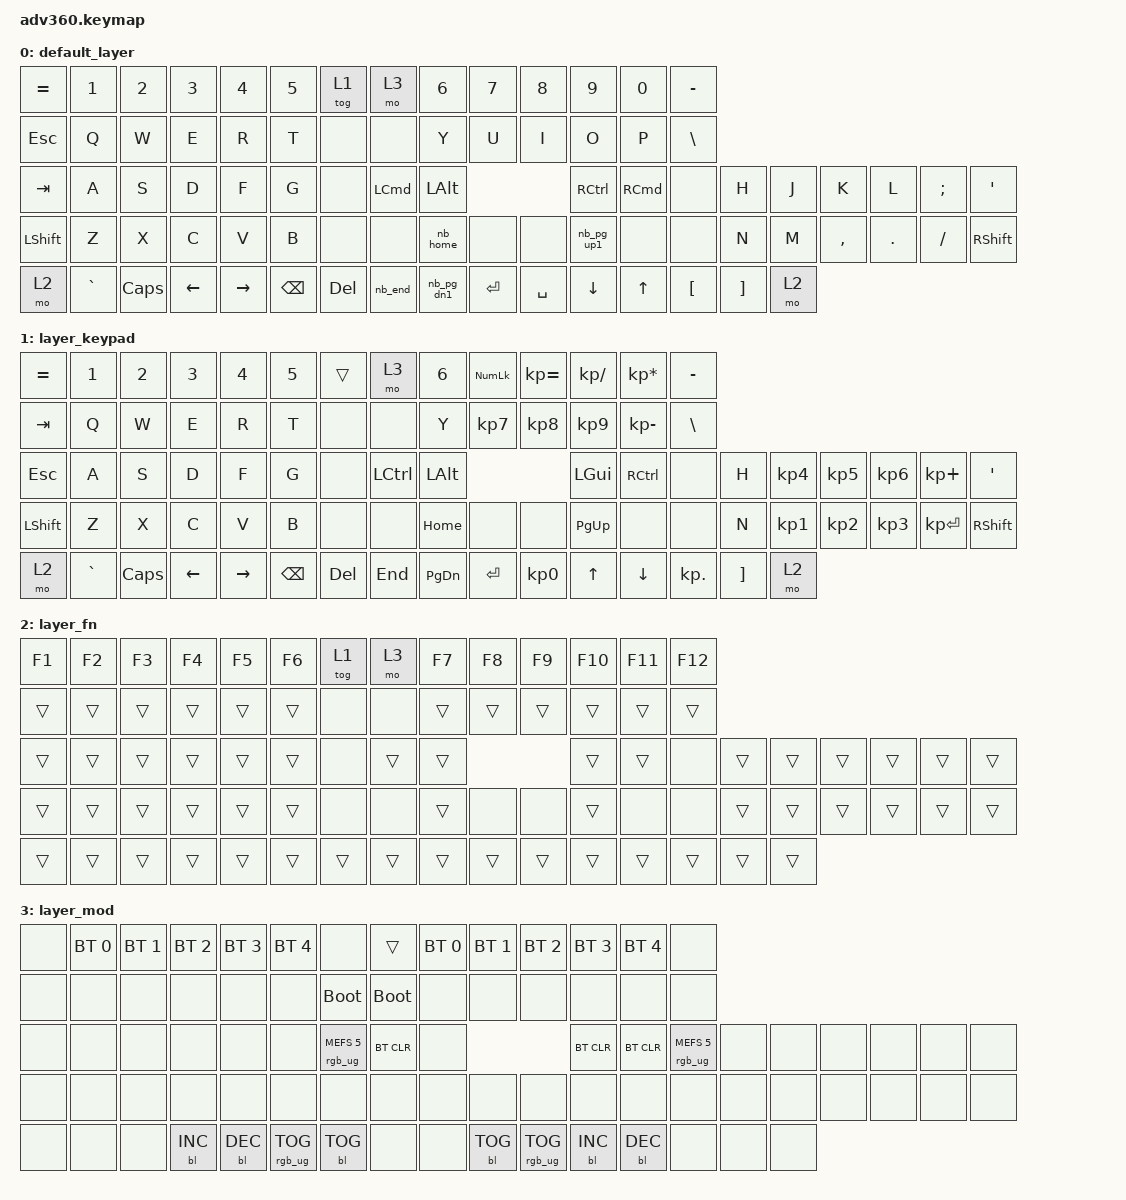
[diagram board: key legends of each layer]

/*
 * Copyright (c) 2020 The ZMK Contributors
 *
 * SPDX-License-Identifier: MIT
 */


/* THIS FILE WAS GENERATED!
 *
 * This file was generated automatically. You may or may not want to
 * edit it directly.
 */

#include <behaviors.dtsi>
#include <dt-bindings/zmk/keys.h>
#include <dt-bindings/zmk/bt.h>
#include <dt-bindings/zmk/rgb.h>
#include <dt-bindings/zmk/backlight.h>

/ {
  behaviors {
    #include "macros.dtsi"

    hm: homerow_mods {
        compatible = "zmk,behavior-hold-tap";
        label = "HOMEROW_MODS";
        #binding-cells = <2>;
        tapping-term-ms = <200>;
        quick_tap_ms = <175>;
        flavor = "tap-preferred";
        bindings = <&kp>, <&kp>;
    };
    nb_home: nb_home {
             compatible = "zmk,behavior-mod-morph";
             label = "NB_HOME";
             #binding-cells = <0>;
             bindings = <&kp RG(TAB)>, <&kp HOME>;
             mods = <(MOD_LSFT|MOD_RSFT)>;
    };
    nb_end: nb_end{
            compatible = "zmk,behavior-mod-morph";
            label = "NB_END";
            #binding-cells = <0>;
            bindings = <&macro_nb_end>, <&kp END>;
            mods = <(MOD_LSFT|MOD_RSFT)>;
    };
    nb_pg_up0: nb_pg_up0{
             compatible = "zmk,behavior-mod-morph";
             label = "NB_PG_UP0";
             #binding-cells = <0>;
             bindings = <&kp LG(RBKT)>, <&kp PG_UP>;
             mods = <(MOD_LSFT|MOD_RSFT)>;
    };
    nb_pg_up1: nb_pg_up1{
             compatible = "zmk,behavior-mod-morph";
             label = "NB_PG_UP1";
             #binding-cells = <0>;
             bindings = <&nb_pg_up0>, <&kp LG(LS(RBKT))>;
             mods = <(MOD_LGUI|MOD_RGUI)>;
    };
    nb_pg_dn0: nb_pg_dn0{
             compatible = "zmk,behavior-mod-morph";
             label = "NB_PG_DN0";
             #binding-cells = <0>;
             bindings = <&kp LG(LBKT)>, <&kp PG_DN>;
             mods = <(MOD_LSFT|MOD_RSFT)>;
    };
    nb_pg_dn1: nb_pg_dn1{
             compatible = "zmk,behavior-mod-morph";
             label = "NB_PG_DN1";
             #binding-cells = <0>;
             bindings = <&nb_pg_dn0>, <&kp LG(LS(LBKT))>;
             mods = <(MOD_LGUI|MOD_RGUI)>;
    };
  };

    keymap {
        compatible = "zmk,keymap";


        default_layer {
            bindings = <
 &kp EQUAL     &kp N1    &kp N2    &kp N3     &kp N4    &kp N5             &tog 1     &mo 3             &kp N6     &kp N7     &kp N8             &kp N9    &kp N0  &kp MINUS
   &kp ESC      &kp Q     &kp W     &kp E      &kp R     &kp T              &none     &none              &kp Y      &kp U      &kp I              &kp O     &kp P   &kp BSLH
   &kp TAB      &kp A     &kp S     &kp D      &kp F     &kp G              &none  &kp LCMD           &kp LALT                                &kp RCTRL  &kp RCMD      &none     &kp H   &kp J      &kp K    &kp L  &kp SEMI    &kp SQT
 &kp LSHFT      &kp Z     &kp X     &kp C      &kp V     &kp B              &none     &none           &nb_home      &none      &none          &nb_pg_up1    &none      &none     &kp N   &kp M  &kp COMMA  &kp DOT  &kp FSLH  &kp RSHFT
     &mo 2  &kp GRAVE  &kp CAPS  &kp LEFT  &kp RIGHT  &kp BSPC            &kp DEL   &nb_end          &nb_pg_dn1 &kp ENTER  &kp SPACE           &kp DOWN    &kp UP   &kp LBKT  &kp RBKT   &mo 2
            >;
        };

        layer_keypad {
            bindings = <
 &kp EQUAL     &kp N1    &kp N2    &kp N3     &kp N4    &kp N5             &trans      &mo 3     &kp N6  &kp KP_NUM  &kp KP_EQUAL  &kp KP_DIVIDE  &kp KP_MULTIPLY   &kp MINUS
   &kp TAB      &kp Q     &kp W     &kp E      &kp R     &kp T              &none      &none      &kp Y   &kp KP_N7     &kp KP_N8      &kp KP_N9     &kp KP_MINUS    &kp BSLH
   &kp ESC      &kp A     &kp S     &kp D      &kp F     &kp G              &none  &kp LCTRL   &kp LALT                                 &kp LGUI        &kp RCTRL       &none     &kp H  &kp KP_N4  &kp KP_N5  &kp KP_N6   &kp KP_PLUS    &kp SQT
 &kp LSHFT      &kp Z     &kp X     &kp C      &kp V     &kp B              &none      &none   &kp HOME       &none         &none      &kp PG_UP            &none       &none     &kp N  &kp KP_N1  &kp KP_N2  &kp KP_N3  &kp KP_ENTER  &kp RSHFT
     &mo 2  &kp GRAVE  &kp CAPS  &kp LEFT  &kp RIGHT  &kp BSPC            &kp DEL    &kp END  &kp PG_DN   &kp ENTER     &kp KP_N0         &kp UP         &kp DOWN  &kp KP_DOT  &kp RBKT      &mo 2
            >;
        };

        layer_fn {
            bindings = <
 &kp F1  &kp F2  &kp F3  &kp F4  &kp F5  &kp F6            &tog 1   &mo 3  &kp F7  &kp F8  &kp F9  &kp F10  &kp F11  &kp F12
 &trans  &trans  &trans  &trans  &trans  &trans             &none   &none  &trans  &trans  &trans   &trans   &trans   &trans
 &trans  &trans  &trans  &trans  &trans  &trans             &none  &trans  &trans                   &trans   &trans    &none  &trans  &trans  &trans  &trans  &trans  &trans
 &trans  &trans  &trans  &trans  &trans  &trans             &none   &none  &trans   &none   &none   &trans    &none    &none  &trans  &trans  &trans  &trans  &trans  &trans
 &trans  &trans  &trans  &trans  &trans  &trans            &trans  &trans  &trans  &trans  &trans   &trans   &trans   &trans  &trans  &trans
            >;
        };

        layer_mod {
            bindings = <
  &none  &bt BT_SEL 0  &bt BT_SEL 1  &bt BT_SEL 2  &bt BT_SEL 3     &bt BT_SEL 4                             &none       &trans  &bt BT_SEL 0  &bt BT_SEL 1     &bt BT_SEL 2  &bt BT_SEL 3  &bt BT_SEL 4                   &none
  &none         &none         &none         &none         &none            &none                       &bootloader  &bootloader         &none         &none            &none         &none         &none                   &none
  &none         &none         &none         &none         &none            &none            &rgb_ug RGB_MEFS_CMD 5   &bt BT_CLR         &none                                   &bt BT_CLR    &bt BT_CLR  &rgb_ug RGB_MEFS_CMD 5   &none   &none   &none   &none   &none   &none
  &none         &none         &none         &none         &none            &none                             &none        &none         &none         &none            &none         &none         &none                   &none   &none   &none   &none   &none   &none   &none
  &none         &none         &none    &bl BL_INC    &bl BL_DEC  &rgb_ug RGB_TOG                        &bl BL_TOG        &none         &none    &bl BL_TOG  &rgb_ug RGB_TOG    &bl BL_INC    &bl BL_DEC                   &none   &none   &none
            >;
        };

    };
};
